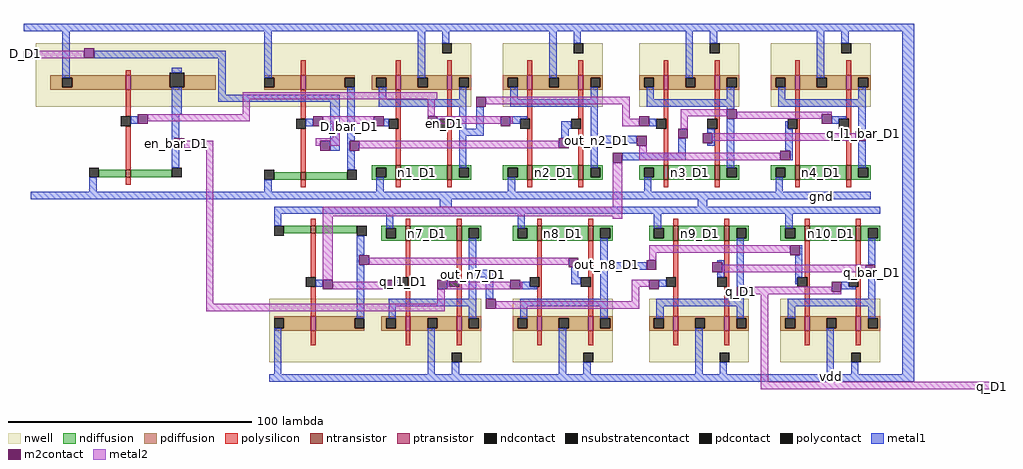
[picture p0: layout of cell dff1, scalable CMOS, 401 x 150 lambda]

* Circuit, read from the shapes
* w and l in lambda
.subckt dff1 D_D1 D_bar_D1 en_D1 en_bar_D1 gnd n10_D1 n1_D1 n2_D1 n3_D1 n4_D1 n6_D1 n7_D1 n8_D1 n9_D1 out_n1_D1 out_n2_D1 out_n7_D1 out_n8_D1 q_D1 q_bar_D1 q_l1_D1 q_l1_bar_D1 vdd
M1 en_bar_D1 en_D1 gnd VSUBS nfet w=3 l=2
M2 D_bar_D1 D_D1 gnd VSUBS nfet w=3 l=2
M3 n6_D1 q_l1_D1 gnd VSUBS nfet w=3 l=2
M4 n1_D1 D_D1 gnd VSUBS nfet w=6 l=2
M5 n7_D1 q_l1_D1 gnd VSUBS nfet w=6 l=2
M6 out_n1_D1 en_D1 n1_D1 VSUBS nfet w=6 l=2
M7 out_n7_D1 en_bar_D1 n7_D1 VSUBS nfet w=6 l=2
M8 n2_D1 en_D1 gnd VSUBS nfet w=6 l=2
M9 n8_D1 en_bar_D1 gnd VSUBS nfet w=6 l=2
M10 out_n2_D1 D_bar_D1 n2_D1 VSUBS nfet w=6 l=2
M11 out_n8_D1 n6_D1 n8_D1 VSUBS nfet w=6 l=2
M12 n3_D1 out_n1_D1 gnd VSUBS nfet w=6 l=2
M13 n9_D1 out_n7_D1 gnd VSUBS nfet w=6 l=2
M14 q_l1_D1 q_l1_bar_D1 n3_D1 VSUBS nfet w=6 l=2
M15 q_D1 q_bar_D1 n9_D1 VSUBS nfet w=6 l=2
M16 n4_D1 out_n2_D1 gnd VSUBS nfet w=6 l=2
M17 n10_D1 out_n8_D1 gnd VSUBS nfet w=6 l=2
M18 q_l1_bar_D1 q_l1_D1 n4_D1 VSUBS nfet w=6 l=2
M19 q_bar_D1 q_D1 n10_D1 VSUBS nfet w=6 l=2
M20 en_bar_D1 en_D1 vdd vdd pfet w=6 l=2
M21 D_bar_D1 D_D1 vdd vdd pfet w=6 l=2
M22 n6_D1 q_l1_D1 vdd vdd pfet w=6 l=2
M23 vdd D_D1 out_n1_D1 vdd pfet w=6 l=2
M24 vdd q_l1_D1 out_n7_D1 vdd pfet w=6 l=2
M25 out_n1_D1 en_D1 vdd vdd pfet w=6 l=2
M26 out_n7_D1 en_bar_D1 vdd vdd pfet w=6 l=2
M27 vdd en_D1 out_n2_D1 vdd pfet w=6 l=2
M28 vdd en_bar_D1 out_n8_D1 vdd pfet w=6 l=2
M29 out_n2_D1 D_bar_D1 vdd vdd pfet w=6 l=2
M30 out_n8_D1 n6_D1 vdd vdd pfet w=6 l=2
M31 vdd out_n1_D1 q_l1_D1 vdd pfet w=6 l=2
M32 vdd out_n7_D1 q_D1 vdd pfet w=6 l=2
M33 q_l1_D1 q_l1_bar_D1 vdd vdd pfet w=6 l=2
M34 q_D1 q_bar_D1 vdd vdd pfet w=6 l=2
M35 vdd out_n2_D1 q_l1_bar_D1 vdd pfet w=6 l=2
M36 vdd out_n8_D1 q_bar_D1 vdd pfet w=6 l=2
M37 q_l1_bar_D1 q_l1_D1 vdd vdd pfet w=6 l=2
M38 q_bar_D1 q_D1 vdd vdd pfet w=6 l=2
.ends

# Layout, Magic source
magic
tech scmos
<< nwell >>
rect 6 113 185 139
rect 198 113 239 139
rect 254 113 295 139
rect 308 113 349 139
rect 102 8 189 34
rect 202 8 243 34
rect 258 8 299 34
rect 312 8 353 34
<< polysilicon >>
rect 43 126 45 128
rect 115 126 117 132
rect 154 126 156 132
rect 175 126 177 132
rect 208 126 210 132
rect 229 126 231 132
rect 264 126 266 132
rect 285 126 287 132
rect 318 126 320 132
rect 339 126 341 132
rect 43 109 45 120
rect 115 108 117 120
rect 154 108 156 120
rect 175 108 177 120
rect 208 108 210 120
rect 229 108 231 120
rect 264 108 266 120
rect 285 108 287 120
rect 318 108 320 120
rect 339 108 341 120
rect 43 87 45 105
rect 155 104 156 108
rect 176 104 177 108
rect 209 104 210 108
rect 230 104 231 108
rect 265 104 266 108
rect 286 104 287 108
rect 319 104 320 108
rect 340 104 341 108
rect 43 81 45 84
rect 115 86 117 104
rect 154 89 156 104
rect 175 89 177 104
rect 208 89 210 104
rect 229 89 231 104
rect 264 89 266 104
rect 285 89 287 104
rect 318 89 320 104
rect 339 89 341 104
rect 115 80 117 83
rect 154 80 156 83
rect 175 80 177 83
rect 208 80 210 83
rect 229 80 231 83
rect 264 80 266 83
rect 285 80 287 83
rect 318 80 320 83
rect 339 80 341 83
rect 119 64 121 67
rect 158 64 160 67
rect 179 64 181 67
rect 212 64 214 67
rect 233 64 235 67
rect 268 64 270 67
rect 289 64 291 67
rect 322 64 324 67
rect 343 64 345 67
rect 119 43 121 61
rect 158 43 160 58
rect 179 43 181 58
rect 212 43 214 58
rect 233 43 235 58
rect 268 43 270 58
rect 289 43 291 58
rect 322 43 324 58
rect 343 43 345 58
rect 159 39 160 43
rect 180 39 181 43
rect 213 39 214 43
rect 234 39 235 43
rect 269 39 270 43
rect 290 39 291 43
rect 323 39 324 43
rect 344 39 345 43
rect 119 27 121 39
rect 158 27 160 39
rect 179 27 181 39
rect 212 27 214 39
rect 233 27 235 39
rect 268 27 270 39
rect 289 27 291 39
rect 322 27 324 39
rect 343 27 345 39
rect 119 15 121 21
rect 158 15 160 21
rect 179 15 181 21
rect 212 15 214 21
rect 233 15 235 21
rect 268 15 270 21
rect 289 15 291 21
rect 322 15 324 21
rect 343 15 345 21
<< ndiffusion >>
rect 32 84 43 87
rect 45 84 62 87
rect 144 88 154 89
rect 104 83 115 86
rect 117 83 134 86
rect 144 84 146 88
rect 150 84 154 88
rect 144 83 154 84
rect 156 83 175 89
rect 177 88 185 89
rect 177 84 180 88
rect 184 84 185 88
rect 177 83 185 84
rect 198 88 208 89
rect 198 84 200 88
rect 204 84 208 88
rect 198 83 208 84
rect 210 83 229 89
rect 231 88 239 89
rect 231 84 234 88
rect 238 84 239 88
rect 231 83 239 84
rect 254 88 264 89
rect 254 84 256 88
rect 260 84 264 88
rect 254 83 264 84
rect 266 83 285 89
rect 287 88 295 89
rect 287 84 290 88
rect 294 84 295 88
rect 287 83 295 84
rect 308 88 318 89
rect 308 84 310 88
rect 314 84 318 88
rect 308 83 318 84
rect 320 83 339 89
rect 341 88 349 89
rect 341 84 344 88
rect 348 84 349 88
rect 341 83 349 84
rect 108 61 119 64
rect 121 61 138 64
rect 148 63 158 64
rect 148 59 150 63
rect 154 59 158 63
rect 148 58 158 59
rect 160 58 179 64
rect 181 63 189 64
rect 181 59 184 63
rect 188 59 189 63
rect 181 58 189 59
rect 202 63 212 64
rect 202 59 204 63
rect 208 59 212 63
rect 202 58 212 59
rect 214 58 233 64
rect 235 63 243 64
rect 235 59 238 63
rect 242 59 243 63
rect 235 58 243 59
rect 258 63 268 64
rect 258 59 260 63
rect 264 59 268 63
rect 258 58 268 59
rect 270 58 289 64
rect 291 63 299 64
rect 291 59 294 63
rect 298 59 299 63
rect 291 58 299 59
rect 312 63 322 64
rect 312 59 314 63
rect 318 59 322 63
rect 312 58 322 59
rect 324 58 343 64
rect 345 63 353 64
rect 345 59 348 63
rect 352 59 353 63
rect 345 58 353 59
<< pdiffusion >>
rect 12 125 43 126
rect 12 121 17 125
rect 21 121 43 125
rect 12 120 43 121
rect 45 121 61 126
rect 67 121 80 126
rect 45 120 80 121
rect 100 125 115 126
rect 104 121 115 125
rect 100 120 115 121
rect 117 125 137 126
rect 117 121 133 125
rect 117 120 137 121
rect 144 125 154 126
rect 144 121 146 125
rect 150 121 154 125
rect 144 120 154 121
rect 156 125 175 126
rect 156 121 163 125
rect 167 121 175 125
rect 156 120 175 121
rect 177 125 185 126
rect 177 121 180 125
rect 184 121 185 125
rect 177 120 185 121
rect 198 125 208 126
rect 198 121 200 125
rect 204 121 208 125
rect 198 120 208 121
rect 210 125 229 126
rect 210 121 217 125
rect 221 121 229 125
rect 210 120 229 121
rect 231 125 239 126
rect 231 121 234 125
rect 238 121 239 125
rect 231 120 239 121
rect 254 125 264 126
rect 254 121 256 125
rect 260 121 264 125
rect 254 120 264 121
rect 266 125 285 126
rect 266 121 273 125
rect 277 121 285 125
rect 266 120 285 121
rect 287 125 295 126
rect 287 121 290 125
rect 294 121 295 125
rect 287 120 295 121
rect 308 125 318 126
rect 308 121 310 125
rect 314 121 318 125
rect 308 120 318 121
rect 320 125 339 126
rect 320 121 327 125
rect 331 121 339 125
rect 320 120 339 121
rect 341 125 349 126
rect 341 121 344 125
rect 348 121 349 125
rect 341 120 349 121
rect 104 26 119 27
rect 108 22 119 26
rect 104 21 119 22
rect 121 26 141 27
rect 121 22 137 26
rect 121 21 141 22
rect 148 26 158 27
rect 148 22 150 26
rect 154 22 158 26
rect 148 21 158 22
rect 160 26 179 27
rect 160 22 167 26
rect 171 22 179 26
rect 160 21 179 22
rect 181 26 189 27
rect 181 22 184 26
rect 188 22 189 26
rect 181 21 189 22
rect 202 26 212 27
rect 202 22 204 26
rect 208 22 212 26
rect 202 21 212 22
rect 214 26 233 27
rect 214 22 221 26
rect 225 22 233 26
rect 214 21 233 22
rect 235 26 243 27
rect 235 22 238 26
rect 242 22 243 26
rect 235 21 243 22
rect 258 26 268 27
rect 258 22 260 26
rect 264 22 268 26
rect 258 21 268 22
rect 270 26 289 27
rect 270 22 277 26
rect 281 22 289 26
rect 270 21 289 22
rect 291 26 299 27
rect 291 22 294 26
rect 298 22 299 26
rect 291 21 299 22
rect 312 26 322 27
rect 312 22 314 26
rect 318 22 322 26
rect 312 21 322 22
rect 324 26 343 27
rect 324 22 331 26
rect 335 22 343 26
rect 324 21 343 22
rect 345 26 353 27
rect 345 22 348 26
rect 352 22 353 26
rect 345 21 353 22
<< metal1 >>
rect 1 144 367 147
rect 17 125 20 144
rect 30 133 84 136
rect 62 127 66 129
rect 62 110 66 121
rect 81 118 84 133
rect 100 125 103 144
rect 163 125 166 144
rect 173 139 176 144
rect 217 125 220 144
rect 227 139 230 144
rect 273 125 276 144
rect 283 139 286 144
rect 327 125 330 144
rect 337 139 340 144
rect 81 115 131 118
rect 45 106 48 109
rect 62 100 65 110
rect 117 105 120 108
rect 62 96 63 100
rect 62 88 65 96
rect 127 95 131 115
rect 134 99 137 121
rect 147 116 150 121
rect 180 116 183 121
rect 147 113 183 116
rect 149 105 151 108
rect 171 105 172 108
rect 180 104 183 113
rect 201 116 204 121
rect 234 116 237 121
rect 201 113 237 116
rect 257 116 260 121
rect 290 116 293 121
rect 257 113 293 116
rect 311 116 314 121
rect 344 116 347 121
rect 311 113 347 116
rect 187 104 190 113
rect 201 108 208 109
rect 201 106 205 108
rect 222 104 226 107
rect 180 101 190 104
rect 134 95 135 99
rect 134 87 137 95
rect 180 88 183 101
rect 222 100 225 104
rect 234 101 237 113
rect 290 112 293 113
rect 258 105 261 108
rect 234 98 253 101
rect 234 88 237 98
rect 282 102 285 104
rect 270 94 273 100
rect 284 98 285 102
rect 282 97 285 98
rect 247 91 273 94
rect 290 88 293 108
rect 314 104 315 107
rect 333 108 339 109
rect 333 106 336 108
rect 314 95 317 104
rect 344 103 347 113
rect 316 91 317 95
rect 344 88 347 99
rect 28 78 31 84
rect 100 78 103 83
rect 146 78 149 84
rect 200 78 203 84
rect 256 78 259 84
rect 310 78 313 84
rect 4 75 349 78
rect 172 72 177 75
rect 278 72 282 75
rect 104 69 353 72
rect 104 64 107 69
rect 150 63 153 69
rect 204 63 207 69
rect 260 63 263 69
rect 314 63 317 69
rect 138 52 141 60
rect 138 48 139 52
rect 121 39 124 42
rect 138 26 141 48
rect 184 46 187 59
rect 184 43 194 46
rect 226 43 229 47
rect 238 49 241 59
rect 238 46 257 49
rect 286 49 289 50
rect 153 39 155 42
rect 175 39 176 42
rect 184 34 187 43
rect 151 31 187 34
rect 151 26 154 31
rect 184 26 187 31
rect 191 34 194 43
rect 205 39 209 41
rect 226 40 230 43
rect 205 38 212 39
rect 238 34 241 46
rect 288 45 289 49
rect 286 43 289 45
rect 262 39 265 42
rect 294 39 297 59
rect 320 52 321 56
rect 318 43 321 52
rect 348 48 351 59
rect 318 40 319 43
rect 337 39 340 41
rect 337 38 343 39
rect 294 34 297 35
rect 348 34 351 44
rect 205 31 241 34
rect 205 26 208 31
rect 238 26 241 31
rect 261 31 297 34
rect 261 26 264 31
rect 294 26 297 31
rect 315 31 351 34
rect 315 26 318 31
rect 348 26 351 31
rect 104 3 107 22
rect 167 3 170 22
rect 177 3 180 8
rect 221 3 224 22
rect 231 3 234 8
rect 277 3 280 22
rect 287 3 290 8
rect 331 3 334 22
rect 341 3 344 8
rect 362 3 367 144
rect 102 0 367 3
<< metal2 >>
rect 1 133 26 136
rect 91 116 171 119
rect 91 110 94 116
rect 52 107 94 110
rect 167 109 170 116
rect 191 114 250 117
rect 124 106 145 109
rect 128 100 131 106
rect 171 106 197 109
rect 201 106 202 109
rect 247 108 250 114
rect 271 109 290 112
rect 247 105 254 108
rect 271 104 274 109
rect 294 110 333 111
rect 294 108 329 110
rect 121 99 131 100
rect 67 96 79 99
rect 121 97 123 99
rect 76 32 79 96
rect 127 97 131 99
rect 139 96 221 99
rect 284 99 343 102
rect 254 94 257 97
rect 254 91 312 94
rect 243 72 247 90
rect 124 68 247 72
rect 124 42 128 68
rect 243 67 247 68
rect 258 53 316 56
rect 143 48 225 51
rect 258 50 261 53
rect 288 45 347 48
rect 128 38 149 41
rect 175 38 201 41
rect 205 38 206 41
rect 251 39 258 42
rect 171 32 174 38
rect 76 29 174 32
rect 251 33 254 39
rect 298 37 333 39
rect 298 36 337 37
rect 195 30 254 33
rect 304 0 307 36
rect 304 -3 402 0
<< ntransistor >>
rect 43 84 45 87
rect 115 83 117 86
rect 154 83 156 89
rect 175 83 177 89
rect 208 83 210 89
rect 229 83 231 89
rect 264 83 266 89
rect 285 83 287 89
rect 318 83 320 89
rect 339 83 341 89
rect 119 61 121 64
rect 158 58 160 64
rect 179 58 181 64
rect 212 58 214 64
rect 233 58 235 64
rect 268 58 270 64
rect 289 58 291 64
rect 322 58 324 64
rect 343 58 345 64
<< ptransistor >>
rect 43 120 45 126
rect 115 120 117 126
rect 154 120 156 126
rect 175 120 177 126
rect 208 120 210 126
rect 229 120 231 126
rect 264 120 266 126
rect 285 120 287 126
rect 318 120 320 126
rect 339 120 341 126
rect 119 21 121 27
rect 158 21 160 27
rect 179 21 181 27
rect 212 21 214 27
rect 233 21 235 27
rect 268 21 270 27
rect 289 21 291 27
rect 322 21 324 27
rect 343 21 345 27
<< polycontact >>
rect 41 105 45 109
rect 113 104 117 108
rect 151 104 155 108
rect 172 104 176 108
rect 205 104 209 108
rect 226 104 230 108
rect 261 104 265 108
rect 282 104 286 108
rect 315 104 319 108
rect 336 104 340 108
rect 117 39 121 43
rect 155 39 159 43
rect 176 39 180 43
rect 209 39 213 43
rect 230 39 234 43
rect 265 39 269 43
rect 286 39 290 43
rect 319 39 323 43
rect 340 39 344 43
<< ndcontact >>
rect 28 84 32 88
rect 62 84 66 88
rect 100 83 104 87
rect 134 83 138 87
rect 146 84 150 88
rect 180 84 184 88
rect 200 84 204 88
rect 234 84 238 88
rect 256 84 260 88
rect 290 84 294 88
rect 310 84 314 88
rect 344 84 348 88
rect 104 60 108 64
rect 138 60 142 64
rect 150 59 154 63
rect 184 59 188 63
rect 204 59 208 63
rect 238 59 242 63
rect 260 59 264 63
rect 294 59 298 63
rect 314 59 318 63
rect 348 59 352 63
<< pdcontact >>
rect 17 121 21 125
rect 61 121 67 127
rect 100 121 104 125
rect 133 121 137 125
rect 146 121 150 125
rect 163 121 167 125
rect 180 121 184 125
rect 200 121 204 125
rect 217 121 221 125
rect 234 121 238 125
rect 256 121 260 125
rect 273 121 277 125
rect 290 121 294 125
rect 310 121 314 125
rect 327 121 331 125
rect 344 121 348 125
rect 104 22 108 26
rect 137 22 141 26
rect 150 22 154 26
rect 167 22 171 26
rect 184 22 188 26
rect 204 22 208 26
rect 221 22 225 26
rect 238 22 242 26
rect 260 22 264 26
rect 277 22 281 26
rect 294 22 298 26
rect 314 22 318 26
rect 331 22 335 26
rect 348 22 352 26
<< m2contact >>
rect 26 133 30 137
rect 48 106 52 110
rect 120 105 124 109
rect 63 96 67 100
rect 123 95 127 99
rect 145 105 149 109
rect 167 105 171 109
rect 187 113 191 117
rect 197 105 201 109
rect 135 95 139 99
rect 221 96 225 100
rect 254 105 258 109
rect 290 108 294 112
rect 253 97 257 101
rect 270 100 274 104
rect 280 98 284 102
rect 243 90 247 94
rect 329 106 333 110
rect 343 99 347 103
rect 312 91 316 95
rect 139 48 143 52
rect 124 38 128 42
rect 225 47 229 51
rect 257 46 261 50
rect 149 38 153 42
rect 171 38 175 42
rect 201 38 205 42
rect 284 45 288 49
rect 258 38 262 42
rect 316 52 320 56
rect 347 44 351 48
rect 294 35 298 39
rect 333 37 337 41
rect 191 30 195 34
<< nsubstratencontact >>
rect 173 135 177 139
rect 227 135 231 139
rect 283 135 287 139
rect 337 135 341 139
rect 177 8 181 12
rect 231 8 235 12
rect 287 8 291 12
rect 341 8 345 12
<< labels >>
rlabel metal1 329 76 329 76 1 gnd
rlabel metal1 333 2 333 2 1 vdd
rlabel metal1 333 71 333 71 5 gnd
rlabel m2contact 64 98 64 98 1 en_bar_D1
rlabel metal1 135 105 135 105 1 D_bar_D1
rlabel polycontact 153 106 153 106 1 D_D1
rlabel polycontact 174 106 174 106 1 en_D1
rlabel metal1 182 103 182 103 1 out_n1_D1
rlabel ndiffusion 163 86 163 86 1 n1_D1
rlabel ndiffusion 219 86 219 86 1 n2_D1
rlabel metal1 237 99 237 99 1 out_n2_D1
rlabel ndiffusion 275 86 275 86 1 n3_D1
rlabel ndiffusion 329 86 329 86 1 n4_D1
rlabel m2contact 346 102 346 102 1 q_l1_bar_D1
rlabel m2contact 350 45 350 45 1 q_bar_D1
rlabel ndiffusion 333 61 333 61 1 n10_D1
rlabel metal1 241 48 241 48 1 out_n8_D1
rlabel ndiffusion 223 61 223 61 1 n8_D1
rlabel metal1 186 44 186 44 1 out_n7_D1
rlabel ndiffusion 167 61 167 61 1 n7_D1
rlabel polycontact 157 41 157 41 1 q_l1_D1
rlabel metal1 139 45 139 45 1 n6_D1
rlabel ndiffusion 279 61 279 61 1 n9_D1
rlabel m2contact 296 37 296 37 1 q_D1
rlabel metal2 399 -2 399 -2 8 q_D1
rlabel metal2 2 135 2 135 3 D_D1
<< end >>
